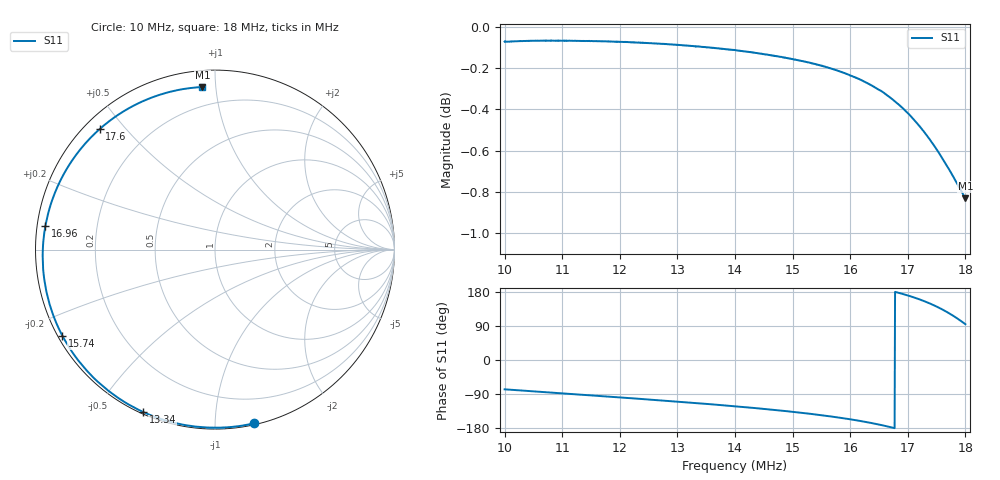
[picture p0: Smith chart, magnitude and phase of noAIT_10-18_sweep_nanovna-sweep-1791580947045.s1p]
! NanoVNA Web complex sweep
! Processing: unaveraged complex samples; linear segment spacing; no smoothing
# Hz S RI R 50
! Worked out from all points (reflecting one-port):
!   1010 points, 10 MHz to 18 MHz, reference 50 ohm
!   lowest |S11| = -0.8 dB at 18 MHz (marker M1), VSWR 20.88, Z = 4.44 + j46.1 ohm
!   phase of S11 starts at -77 deg and turns -188 deg over the sweep
!   S11 on the Smith chart (normalised r, x): 10 MHz: 0.01, -1.25; 13.34 MHz: 0.01, -0.65; 15.74 MHz: 0.01, -0.26; 16.96 MHz: 0.02, +0.07; 17.6 MHz: 0.04, +0.43; 18 MHz: 0.09, +0.92
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1e7  0.2168 -0.9679
1.050746e7  0.1211 -0.985
1.100698e7  0.0297 -0.9919
1.149858e7  -0.0595 -0.9904
1.200604e7  -0.152 -0.98
1.251349e7  -0.2453 -0.9602
1.300509e7  -0.3367 -0.931
1.333811e7  -0.3992 -0.9052
1.400414e7  -0.5255 -0.8358
1.452746e7  -0.6251 -0.761
1.50032e7  -0.7157 -0.6726
1.538379e7  -0.7869 -0.5834
1.57406e7  -0.8502 -0.4799
1.600225e7  -0.8924 -0.3883
1.626391e7  -0.9286 -0.279
1.650971e7  -0.9526 -0.1569
1.673965e7  -0.96 -0.0218
1.696166e7  -0.9452 0.1308
1.700131e7  -0.9393 0.1606
1.717574e7  -0.8983 0.3001
1.73264e7  -0.837 0.4306
1.746912e7  -0.7496 0.5594
1.759598e7  -0.6418 0.6723
1.771492e7  -0.5105 0.7696
1.782592e7  -0.3595 0.8445
1.792107e7  -0.2088 0.8885
1.796864e7  -0.1268 0.9013
1.800036e7  -0.0703 0.9059
